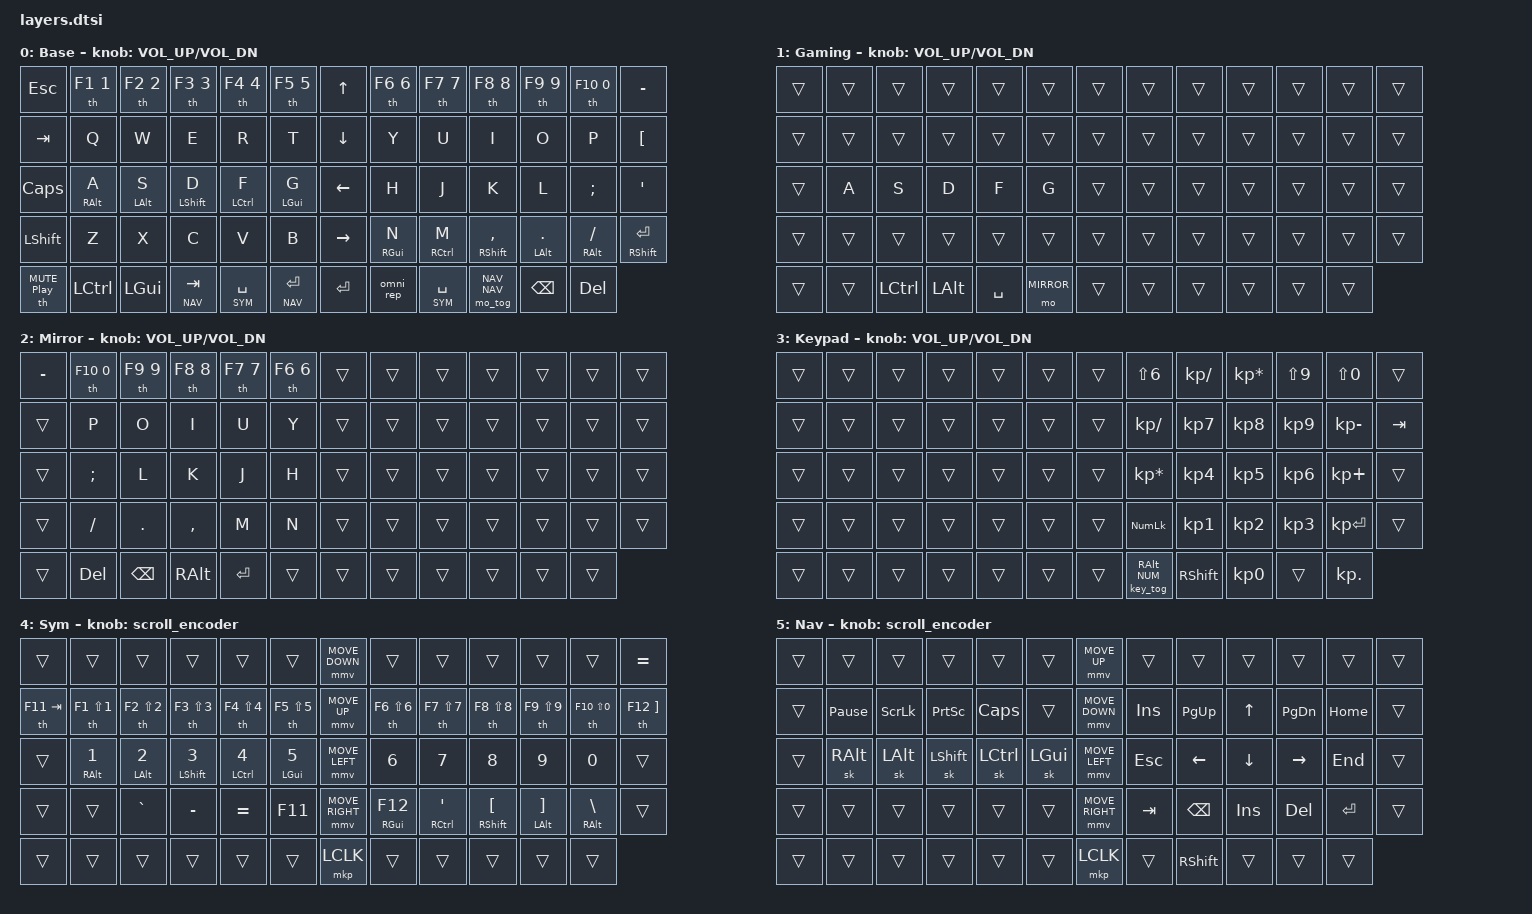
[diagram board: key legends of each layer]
/ {
/*
    conditional_layers {
        compatible = "zmk,conditional-layers";
        nav_mo {
            if-layers = <NAV_MO>;
            then-layer = <NAV>;
        };
        nav_mol {
            if-layers = <NAV_MOL>;
            then-layer = <NAV>;
        };
        sym_mo {
            if-layers = <NAV_MO NAV_MOL>;
            then-layer = <SYM>;
        };
        mouse {
            if-layers = <MOUSE>;
            then-layer = <NAV>;
        };
    };
*/

    keymap {
        compatible = "zmk,keymap";

	// omni_rep - replay, symbols if held, capsword with shift + other with alt/ctrl/gui and combinations (tog layers, leader key and similar)
        base_layer {
            display-name = "Base";
            bindings = <
&kp ESC         &th F1 N1     &th F2 N2     &th F3 N3       &th F4 N4       &th F5 N5            &kp UP_ARROW       &th F6 N6     &th F7 N7      &th F8 N8           &th F9 N9       &th F10 N0       &kp MINUS
&kp TAB         &kp Q         &kp W         &kp E           &kp R           &kp T                &kp DOWN_ARROW     &kp Y         &kp U          &kp I               &kp O           &kp P            &kp LEFT_BRACKET
&kp CAPS        &hrml RALT A  &hrml LALT S  &hrml LSHIFT D  &hrml LCTRL F   &hrml LGUI G         &kp LEFT_ARROW     &kp H         &kp J          &kp K               &kp L           &kp SEMI         &kp APOS
&kp LSHFT       &kp Z         &kp X         &kp C           &kp V           &kp B                &kp RIGHT_ARROW    &hrmr RGUI N  &hrmr RCTRL M  &hrmr RSHIFT COMMA  &hrmr LALT DOT  &hrmr RALT FSLH  &hrmr RSHIFT ENTER
&th C_MUTE C_PP &kp LCTRL     &kp LEFT_GUI  &lt NAV TAB     &lt SYM SPACE   &lt NAV ENTER        &kp ENTER          &omni_rep     &lt SYM SPACE  &mo_tog NAV NAV     &kp BACKSPACE   &kp DELETE
            >;

            sensor-bindings = <&inc_dec_kp C_VOLUME_UP C_VOL_DN>;
        };

        gaming_layer {
	    display-name = "Gaming";
            bindings = <
&trans  &trans  &trans     &trans    &trans     &trans           &trans    &trans  &trans  &trans  &trans  &trans  &trans
&trans  &trans  &trans     &trans    &trans     &trans           &trans    &trans  &trans  &trans  &trans  &trans  &trans
&trans  &kp A   &kp S      &kp D     &kp F      &kp G            &trans    &trans  &trans  &trans  &trans  &trans  &trans
&trans  &trans  &trans     &trans    &trans     &trans           &trans    &trans  &trans  &trans  &trans  &trans  &trans
&trans  &trans  &kp LCTRL  &kp LALT  &kp SPACE  &mo MIRROR       &trans    &trans  &trans  &trans  &trans  &trans
            >;

            sensor-bindings = <&inc_dec_kp C_VOLUME_UP C_VOL_DN>;
        };

        mirror_layer {
	    display-name = "Mirror";
            bindings = <
&kp MINUS  &th F10 N0  &th F9 N9      &th F8 N8  &th F7 N7  &th F6 N6  &trans  &trans  &trans  &trans  &trans  &trans  &trans
&trans     &kp P       &kp O          &kp I      &kp U      &kp Y      &trans  &trans  &trans  &trans  &trans  &trans  &trans
&trans     &kp SEMI    &kp L          &kp K      &kp J      &kp H      &trans  &trans  &trans  &trans  &trans  &trans  &trans
&trans     &kp FSLH    &kp DOT        &kp COMMA  &kp M      &kp N      &trans  &trans  &trans  &trans  &trans  &trans  &trans
&trans     &kp DELETE  &kp BACKSPACE  &kp RALT   &kp ENTER  &trans     &trans  &trans  &trans  &trans  &trans  &trans
            >;

            sensor-bindings = <&inc_dec_kp C_VOLUME_UP C_VOL_DN>;
        };

//         keypad_layer {
// 	    display-name = "Keypad";
//             bindings = <
// &trans  &trans  &trans  &trans  &trans  &trans    &trans    &trans       &kp KP_N7  &kp KP_N8     &kp KP_N9   &kp KP_DIVIDE  &kp KP_MULTIPLY
// &trans  &trans  &trans  &trans  &trans  &trans    &trans    &trans       &kp KP_N4  &kp KP_N5     &kp KP_N6   &kp KP_MINUS   &kp TAB
// &trans  &trans  &trans  &trans  &trans  &trans    &trans    &trans       &kp KP_N1  &kp KP_N2     &kp KP_N3   &kp KP_PLUS    &trans
// &trans  &trans  &trans  &trans  &trans  &trans    &trans    &kp KP_NLCK  &kp KP_N0  &kp KP_COMMA  &kp KP_DOT  &kp KP_ENTER   &trans
// &trans  &trans  &trans  &trans  &trans  &trans    &trans    &sk RALT     &trans     &trans        &trans      &trans
//             >;
// 
//             sensor-bindings = <&inc_dec_kp C_VOLUME_UP C_VOL_DN>;
//         };

        keypad_layer {
	    display-name = "Keypad";
            bindings = <
&trans  &trans  &trans  &trans  &trans  &trans    &trans    &kp LS(N6)         &kp KP_DIVIDE  &kp KP_MULTIPLY  &kp LS(N9)  &kp LS(N0)    &trans
&trans  &trans  &trans  &trans  &trans  &trans    &trans    &kp KP_DIVIDE      &kp KP_N7      &kp KP_N8        &kp KP_N9   &kp KP_MINUS  &kp TAB
&trans  &trans  &trans  &trans  &trans  &trans    &trans    &kp KP_MULTIPLY    &kp KP_N4      &kp KP_N5        &kp KP_N6   &kp KP_PLUS   &trans
&trans  &trans  &trans  &trans  &trans  &trans    &trans    &kp KP_NLCK        &kp KP_N1      &kp KP_N2        &kp KP_N3   &kp KP_ENTER  &trans
&trans  &trans  &trans  &trans  &trans  &trans    &trans    &key_tog RALT NUM  &kp RSHIFT     &kp KP_N0        &trans      &kp KP_DOT
            >;

            sensor-bindings = <&inc_dec_kp C_VOLUME_UP C_VOL_DN>;
        };

        symbols_layer {
	    display-name = "Sym";
            bindings = <
&trans       &trans         &trans         &trans           &trans          &trans           &mmv MOVE_DOWN     &trans          &trans            &trans                     &trans                    &trans           &kp EQUAL 
&th F11 TAB  &th F1 LS(N1)  &th F2 LS(N2)  &th F3 LS(N3)    &th F4 LS(N4)   &th F5 LS(N5)    &mmv MOVE_UP       &th F6 LS(N6)   &th F7 LS(N7)     &th F8 LS(N8)              &th F9 LS(N9)             &th F10 LS(N0)   &th F12 RIGHT_BRACKET
&trans       &hrml RALT N1  &hrml LALT N2  &hrml LSHIFT N3  &hrml LCTRL N4  &hrml LGUI N5    &mmv MOVE_LEFT     &kp N6          &kp N7            &kp N8                     &kp N9                    &kp N0           &trans
&trans       &trans         &kp GRAVE      &kp MINUS        &kp EQUAL       &kp F11          &mmv MOVE_RIGHT    &hrmr RGUI F12  &hrmr RCTRL APOS  &hrmr RSHIFT LEFT_BRACKET  &hrmr LALT RIGHT_BRACKET  &hrmr RALT BSLH  &trans
&trans       &trans         &trans         &trans           &trans          &trans           &mkp LCLK          &trans          &trans            &trans                     &trans                    &trans
            >;

            sensor-bindings = <&scroll_encoder>;
        };

        navigation_layer {
	    display-name = "Nav";
            bindings = <
&trans  &trans           &trans    &trans      &trans     &trans      &mmv MOVE_UP       &trans      &trans         &trans      &trans      &trans     &trans
&trans  &kp PAUSE_BREAK  &kp SLCK  &kp PSCRN   &kp CAPS   &trans      &mmv MOVE_DOWN     &kp INSERT  &kp PG_UP      &kp UP      &kp PG_DN   &kp HOME   &trans
&trans  &sk RALT         &sk LALT  &sk LSHIFT  &sk LCTRL  &sk LGUI    &mmv MOVE_LEFT     &kp ESC     &kp LEFT       &kp DOWN    &kp RIGHT   &kp END    &trans
&trans  &trans           &trans    &trans      &trans     &trans      &mmv MOVE_RIGHT    &kp TAB     &kp BACKSPACE  &kp INSERT  &kp DELETE  &kp ENTER  &trans
&trans  &trans           &trans    &trans      &trans     &trans      &mkp LCLK          &trans      &kp RSHIFT     &trans      &trans      &trans
            >;

            sensor-bindings = <&scroll_encoder>;
        };
/*
        nav_mo_layer {
	    // Empty layer to allow lower layer to be turned sticky from temporary
	    display-name = "Nav";
            bindings = <
&trans  &trans  &trans  &trans  &trans  &trans    &trans    &trans  &trans  &trans  &trans  &trans  &trans
&trans  &trans  &trans  &trans  &trans  &trans    &trans    &trans  &trans  &trans  &trans  &trans  &trans
&trans  &trans  &trans  &trans  &trans  &trans    &trans    &trans  &trans  &trans  &trans  &trans  &trans
&trans  &trans  &trans  &trans  &trans  &trans    &trans    &trans  &trans  &trans  &trans  &trans  &trans
&trans  &trans  &trans  &trans  &trans  &trans    &trans    &trans  &trans  &trans  &trans  &trans
            >;

            sensor-bindings = <&scroll_encoder>;
        };
*/
/*
        nav_mor_layer {
	    // Empty layer to allow lower layer to be turned sticky from temporary
	    display-name = "Nav";
            bindings = <
&trans  &trans  &trans  &trans  &trans  &trans    &trans    &trans  &trans  &trans  &trans  &trans  &trans
&trans  &trans  &trans  &trans  &trans  &trans    &trans    &trans  &trans  &trans  &trans  &trans  &trans
&trans  &trans  &trans  &trans  &trans  &trans    &trans    &trans  &trans  &trans  &trans  &trans  &trans
&trans  &trans  &trans  &trans  &trans  &trans    &trans    &trans  &trans  &trans  &trans  &trans  &trans
&trans  &trans  &trans  &trans  &trans  &trans    &trans    &trans  &trans  &trans  &trans  &trans
            >;

            sensor-bindings = <&scroll_encoder>;
        };
*/
/*
        mouse_layer {
	    // Mouse layer
	    display-name = "Mouse";
            bindings = <
&trans  &trans  &trans  &trans  &trans  &trans    &trans    &trans     &msc SCROLL_LEFT  &trans         &msc SCROLL_RIGHT  &trans  &trans
&trans  &trans  &trans  &trans  &trans  &trans    &trans    &trans     &msc SCROLL_UP    &mmv MOVE_UP    &msc SCROLL_DOWN   &trans  &trans
&trans  &trans  &trans  &trans  &trans  &trans    &trans    &trans     &mmv MOVE_LEFT    &mmv MOVE_DOWN  &mmv MOVE_RIGHT    &trans  &trans
&trans  &trans  &trans  &trans  &trans  &trans    &trans    &trans     &mkp MCLK         &trans          &mkp RCLK          &trans  &trans
&trans  &trans  &trans  &trans  &trans  &trans    &trans    &mkp LCLK  &trans            &trans          &trans             &trans
            >;

            sensor-bindings = <&scroll_encoder>;
        };
*/

/*
        nav_tog_layer {
	    // Empty layer to allow lower layer to be turned sticky from temporary
	    display-name = "Move";
            bindings = <
&trans  &trans  &trans  &trans  &trans  &trans    &trans    &trans  &trans  &trans  &trans  &trans  &trans
&trans  &trans  &trans  &trans  &trans  &trans    &trans    &trans  &trans  &trans  &trans  &trans  &trans
&trans  &trans  &trans  &trans  &trans  &trans    &trans    &trans  &trans  &trans  &trans  &trans  &trans
&trans  &trans  &trans  &trans  &trans  &trans    &trans    &trans  &trans  &trans  &trans  &trans  &trans
&trans  &trans  &trans  &trans  &trans  &trans    &trans    &trans  &trans  &trans  &trans  &trans
            >;

            sensor-bindings = <&scroll_encoder>;
        };
*/

    };
};
